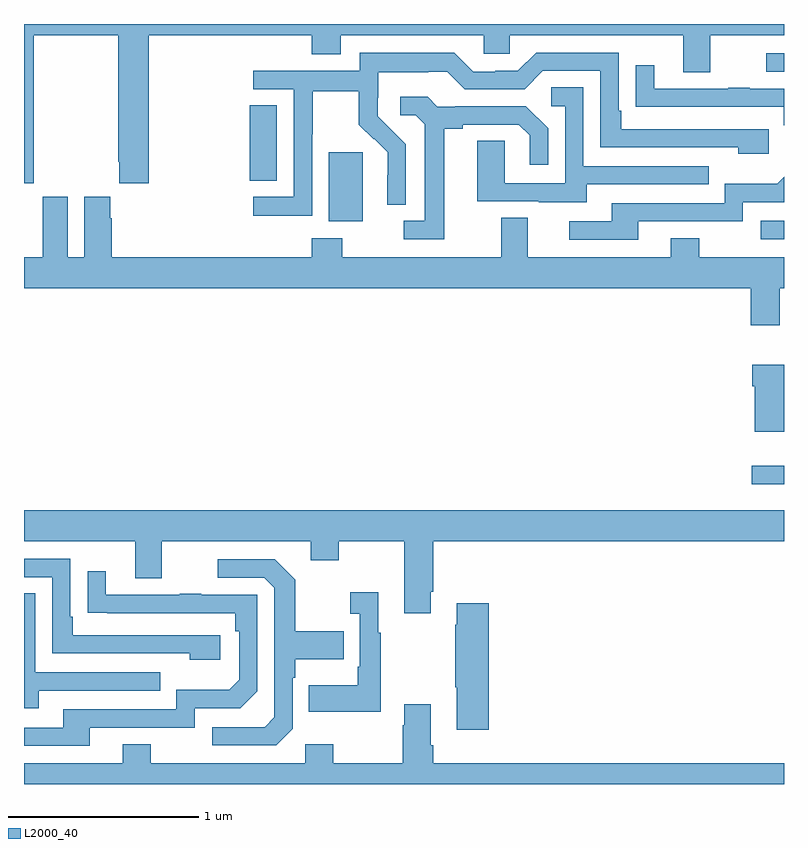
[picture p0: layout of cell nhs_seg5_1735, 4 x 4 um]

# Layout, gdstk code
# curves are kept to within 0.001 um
import gdstk
lib = gdstk.Library(unit=1e-6, precision=1e-09)
def R(c, l, rs):  # rectangles x0, y0, x1, y1
    for r in rs: c.add(gdstk.rectangle(r[:2], r[2:], *l))
def P(c, l, *ps):  # polygons
    for p in ps: c.add(gdstk.Polygon(p, *l))
L2000_40 = (2000, 40)

nhs_seg5_1735 = lib.new_cell('nhs_seg5_1735')
R(nhs_seg5_1735, L2000_40, [(218.829,874.376,219,874.473), (218.877,875.667,219,875.763), (216.605,875.762,216.784,876.123), (216.188,875.974,216.331,876.371), (218.907,876.549,219,876.645)])
P(nhs_seg5_1735, L2000_40, [(215.052,876.74),(215.497,876.74),(215.497,876.073),(215.501,876.073),(215.501,875.961),(215.657,875.961),(215.657,876.74),(216.515,876.74),(216.515,876.641),(216.667,876.641),(216.667,876.74),(217.419,876.74),(217.419,876.642),(217.557,876.642),(217.557,876.74),(218.471,876.74),(218.471,876.546),(218.611,876.546),(218.611,876.74),(219,876.74),(219,876.799),(215,876.799),(215,875.961),(215.052,875.961)],
  [(216.516,876.22),(216.519,876.22),(216.519,876.444),(216.763,876.444),(216.763,876.269),(216.84,876.192),(216.843,876.195),(216.914,876.125),(216.914,876.002),(216.912,876.002),(216.912,875.848),(217.008,875.848),(217.008,876.166),(216.862,876.314),(216.862,876.411),(216.864,876.411),(216.864,876.545),(217.127,876.545),(217.127,876.549),(217.227,876.549),(217.32,876.456),(217.635,876.456),(217.731,876.552),(218.034,876.552),(218.034,876.15),(218.759,876.15),(218.759,876.116),(218.92,876.116),(218.92,876.246),(218.143,876.246),(218.143,876.343),(218.13,876.343),(218.13,876.648),(217.695,876.648),(217.599,876.552),(217.481,876.552),(217.481,876.549),(217.365,876.549),(217.265,876.649),(216.768,876.649),(216.768,876.552),(216.207,876.552),(216.207,876.456),(216.42,876.456),(216.42,875.889),(216.207,875.889),(216.207,875.791),(216.516,875.791)],
  [(219,876.459),(218.819,876.459),(218.819,876.464),(218.707,876.464),(218.707,876.459),(218.317,876.459),(218.317,876.583),(218.221,876.583),(218.221,876.364),(218.323,876.364),(218.323,876.363),(218.998,876.363),(218.998,876.266),(219,876.266)],
  [(217.963,875.955),(218.603,875.955),(218.603,876.051),(217.944,876.051),(217.944,876.467),(217.776,876.467),(217.776,876.366),(217.848,876.366),(217.848,875.961),(217.53,875.961),(217.53,876.185),(217.385,876.185),(217.385,875.865),(217.709,875.865),(217.709,875.861),(217.963,875.861)],
  [(217.213,876.248),(217.309,876.248),(217.309,876.27),(217.604,876.27),(217.661,876.213),(217.661,876.057),(217.758,876.057),(217.758,876.25),(217.642,876.366),(217.27,876.366),(217.27,876.363),(217.176,876.363),(217.124,876.415),(216.981,876.415),(216.981,876.318),(217.062,876.318),(217.109,876.271),(217.109,875.763),(216.999,875.763),(216.999,875.667),(217.213,875.667)],
  [(218.233,875.76),(218.784,875.76),(218.784,875.862),(219,875.862),(219,875.994),(218.965,875.959),(218.688,875.959),(218.688,875.856),(218.093,875.856),(218.093,875.76),(217.869,875.76),(217.869,875.664),(218.233,875.664)],
  [(218.977,875.408),(219,875.408),(219,875.572),(218.553,875.572),(218.553,875.671),(218.405,875.671),(218.405,875.572),(217.651,875.572),(217.651,875.78),(217.511,875.78),(217.511,875.572),(216.675,875.572),(216.675,875.671),(216.515,875.671),(216.515,875.572),(215.462,875.572),(215.462,875.777),(215.455,875.777),(215.455,875.89),(215.318,875.89),(215.318,875.572),(215.23,875.572),(215.23,875.89),(215.099,875.89),(215.099,875.572),(215,875.572),(215,875.408),(218.825,875.408),(218.825,875.214),(218.977,875.214)],
  [(219,875.005),(218.834,875.005),(218.834,874.892),(218.846,874.892),(218.846,874.652),(219,874.652)],
  [(217.141,873.811),(217.154,873.811),(217.154,874.076),(219,874.076),(219,874.24),(215,874.24),(215,874.076),(215.585,874.076),(215.585,873.882),(215.725,873.882),(215.725,874.076),(216.509,874.076),(216.509,873.977),(216.657,873.977),(216.657,874.076),(217.001,874.076),(217.001,873.699),(217.141,873.699)],
  [(216.034,873.582),(215.257,873.582),(215.257,873.679),(215.244,873.679),(215.244,873.984),(215,873.984),(215,873.888),(215.148,873.888),(215.148,873.486),(215.873,873.486),(215.873,873.452),(216.034,873.452)],
  [(216.414,873.09),(216.414,873.359),(216.427,873.359),(216.427,873.455),(216.683,873.455),(216.683,873.603),(216.427,873.603),(216.427,873.875),(216.321,873.981),(216.021,873.981),(216.021,873.885),(216.264,873.885),(216.318,873.831),(216.318,873.15),(216.267,873.099),(215.991,873.099),(215.991,873.003),(216.327,873.003)],
  [(215.347,873.096),(215.898,873.096),(215.898,873.198),(216.138,873.198),(216.228,873.288),(216.228,873.795),(215.933,873.795),(215.933,873.8),(215.821,873.8),(215.821,873.795),(215.431,873.795),(215.431,873.919),(215.335,873.919),(215.335,873.7),(216.112,873.699),(216.112,873.602),(216.132,873.602),(216.132,873.348),(216.079,873.295),(215.802,873.295),(215.802,873.192),(215.207,873.192),(215.207,873.096),(215,873.096),(215,873),(215.347,873)],
  [(216.877,873.595),(216.865,873.595),(216.865,873.808),(216.717,873.808),(216.717,873.695),(216.768,873.695),(216.768,873.415),(216.756,873.415),(216.756,873.319),(216.499,873.319),(216.499,873.179),(216.877,873.179)],
  [(215.077,873.291),(215.717,873.291),(215.717,873.387),(215.058,873.387),(215.058,873.803),(215,873.803),(215,873.197),(215.077,873.197)],
  [(217.445,873.751),(217.277,873.751),(217.277,873.638),(217.27,873.638),(217.27,873.307),(217.277,873.307),(217.277,873.084),(217.445,873.084)],
  [(219,872.908),(217.154,872.908),(217.154,873.004),(217.141,873.004),(217.141,873.22),(217.001,873.22),(217.001,873.107),(216.994,873.107),(216.994,872.908),(216.627,872.908),(216.627,873.007),(216.48,873.007),(216.48,872.908),(215.667,872.908),(215.667,873.007),(215.519,873.007),(215.519,872.908),(215,872.908),(215,872.799),(219,872.799)])

lib.write_gds('nhs_seg5_1735.gds')
